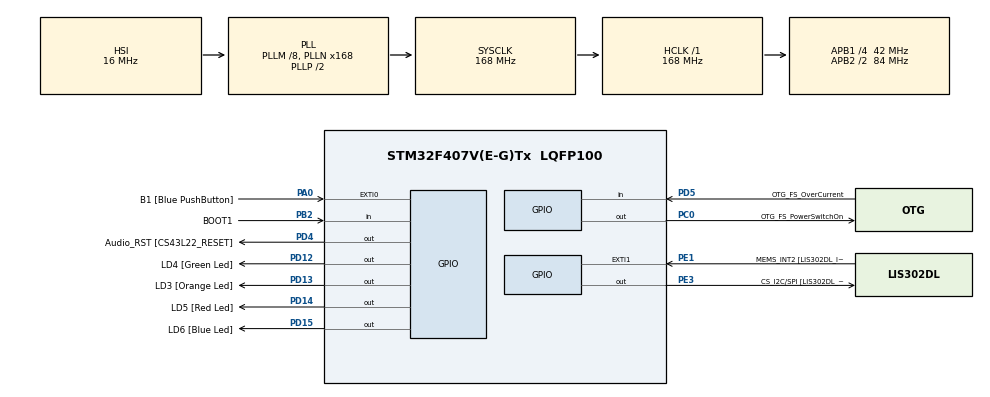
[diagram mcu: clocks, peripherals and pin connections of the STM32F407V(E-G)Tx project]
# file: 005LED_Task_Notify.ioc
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Mcu.Family=STM32F4
Mcu.Name=STM32F407V(E-G)Tx
Mcu.Package=LQFP100
NVIC.PriorityGroup=NVIC_PRIORITYGROUP_4
NVIC.TIM6_DAC_IRQn=true\:0\:0\:false\:false\:true\:false\:true\:true
NVIC.TimeBase=TIM6_DAC_IRQn
NVIC.TimeBaseIP=TIM6
PA0-WKUP.GPIO_Label=B1 [Blue PushButton]
PA0-WKUP.Signal=GPXTI0
PA10.GPIO_Label=OTG_FS_ID
PA10.GPIO_Mode=GPIO_MODE_AF_PP
PA10.GPIO_PuPd=GPIO_NOPULL
PA10.GPIO_Speed=GPIO_SPEED_FREQ_LOW
PA10.Signal=USB_OTG_FS_ID
PA11.GPIO_Label=OTG_FS_DM
PA11.GPIO_Mode=GPIO_MODE_AF_PP
PA11.GPIO_PuPd=GPIO_NOPULL
PA11.GPIO_Speed=GPIO_SPEED_FREQ_LOW
PA11.Signal=USB_OTG_FS_DM
PA12.GPIO_Label=OTG_FS_DP
PA12.GPIO_Mode=GPIO_MODE_AF_PP
PA12.GPIO_PuPd=GPIO_NOPULL
PA12.GPIO_Speed=GPIO_SPEED_FREQ_LOW
PA12.Signal=USB_OTG_FS_DP
PA13.GPIO_Label=SWDIO
PA13.Signal=SYS_JTMS-SWDIO
PA14.GPIO_Label=SWCLK
PA14.Signal=SYS_JTCK-SWCLK
PA4.GPIO_Label=I2S3_WS [CS43L22_LRCK]
PA4.GPIO_Mode=GPIO_MODE_AF_PP
PA4.GPIO_PuPd=GPIO_NOPULL
PA4.GPIO_Speed=GPIO_SPEED_FREQ_LOW
PA4.Signal=I2S3_WS
PA5.GPIO_Label=SPI1_SCK [LIS302DL_SCL/SPC]
PA5.GPIO_Mode=GPIO_MODE_AF_PP
PA5.GPIO_PuPd=GPIO_NOPULL
PA5.GPIO_Speed=GPIO_SPEED_FREQ_LOW
PA5.Signal=SPI1_SCK
PA6.GPIO_Label=SPI1_MISO [LIS302DL_SDO]
PA6.GPIO_Mode=GPIO_MODE_AF_PP
PA6.GPIO_PuPd=GPIO_NOPULL
PA6.GPIO_Speed=GPIO_SPEED_FREQ_LOW
PA6.Signal=SPI1_MISO
PA7.GPIO_Label=SPI1_MOSI [LIS302DL_SDA/SDI/SDO]
PA7.GPIO_Mode=GPIO_MODE_AF_PP
PA7.GPIO_PuPd=GPIO_NOPULL
PA7.GPIO_Speed=GPIO_SPEED_FREQ_LOW
PA7.Signal=SPI1_MOSI
PA9.GPIO_Label=VBUS_FS
PA9.GPIO_Mode=GPIO_MODE_INPUT
PA9.GPIO_PuPd=GPIO_NOPULL
PA9.Signal=USB_OTG_FS_VBUS
PB10.GPIO_Label=CLK_IN [MP45DT02_CLK]
PB10.GPIO_Mode=GPIO_MODE_AF_PP
PB10.GPIO_PuPd=GPIO_NOPULL
PB10.GPIO_Speed=GPIO_SPEED_FREQ_LOW
PB10.Signal=I2S2_CK
PB2.GPIO_Label=BOOT1
PB2.GPIO_Mode=GPIO_MODE_INPUT
PB2.GPIO_PuPd=GPIO_NOPULL
PB2.Signal=GPIO_Input
PB3.GPIO_Label=SWO
PB3.Signal=SYS_JTDO-SWO
PB6.GPIO_Label=Audio_SCL [CS43L22_SCL]
PB6.GPIO_Mode=GPIO_MODE_AF_OD
PB6.GPIO_PuPd=GPIO_NOPULL
PB6.GPIO_Speed=GPIO_SPEED_FREQ_LOW
PB6.Signal=I2C1_SCL
PB9.GPIO_Label=Audio_SDA [CS43L22_SDA]
PB9.GPIO_Mode=GPIO_MODE_AF_OD
PB9.GPIO_PuPd=GPIO_NOPULL
PB9.GPIO_Speed=GPIO_SPEED_FREQ_LOW
PB9.Signal=I2C1_SDA
PC0.GPIO_Label=OTG_FS_PowerSwitchOn
PC0.GPIO_PuPd=GPIO_NOPULL
PC0.GPIO_Speed=GPIO_SPEED_FREQ_LOW
PC0.PinState=GPIO_PIN_SET
PC0.Signal=GPIO_Output
PC10.GPIO_Label=I2S3_SCK [CS43L22_SCLK]
PC10.GPIO_Mode=GPIO_MODE_AF_PP
PC10.GPIO_PuPd=GPIO_NOPULL
PC10.GPIO_Speed=GPIO_SPEED_FREQ_LOW
PC10.Signal=I2S3_CK
PC12.GPIO_Label=I2S3_SD [CS43L22_SDIN]
PC12.GPIO_Mode=GPIO_MODE_AF_PP
PC12.GPIO_PuPd=GPIO_NOPULL
PC12.GPIO_Speed=GPIO_SPEED_FREQ_LOW
PC12.Signal=I2S3_SD
PC14-OSC32_IN.GPIO_Label=PC14-OSC32_IN
PC14-OSC32_IN.Signal=RCC_OSC32_IN
PC15-OSC32_OUT.GPIO_Label=PC15-OSC32_OUT
PC15-OSC32_OUT.Signal=RCC_OSC32_OUT
PC3.GPIO_Label=PDM_OUT [MP45DT02_DOUT]
PC3.GPIO_Mode=GPIO_MODE_AF_PP
PC3.GPIO_PuPd=GPIO_NOPULL
PC3.GPIO_Speed=GPIO_SPEED_FREQ_LOW
PC3.Signal=I2S2_SD
PC7.GPIO_Label=I2S3_MCK [CS43L22_MCLK]
PC7.GPIO_Mode=GPIO_MODE_AF_PP
PC7.GPIO_PuPd=GPIO_NOPULL
PC7.GPIO_Speed=GPIO_SPEED_FREQ_LOW
PC7.Signal=I2S3_MCK
PD12.GPIO_Label=LD4 [Green Led]
PD12.GPIO_PuPd=GPIO_NOPULL
PD12.GPIO_Speed=GPIO_SPEED_FREQ_LOW
PD12.Signal=GPIO_Output
PD13.GPIO_Label=LD3 [Orange Led]
PD13.GPIO_PuPd=GPIO_NOPULL
PD13.GPIO_Speed=GPIO_SPEED_FREQ_LOW
PD13.Signal=GPIO_Output
PD14.GPIO_Label=LD5 [Red Led]
PD14.GPIO_PuPd=GPIO_NOPULL
PD14.GPIO_Speed=GPIO_SPEED_FREQ_LOW
PD14.Signal=GPIO_Output
PD15.GPIO_Label=LD6 [Blue Led]
PD15.GPIO_PuPd=GPIO_NOPULL
PD15.GPIO_Speed=GPIO_SPEED_FREQ_LOW
PD15.Signal=GPIO_Output
PD4.GPIO_Label=Audio_RST [CS43L22_RESET]
PD4.GPIO_PuPd=GPIO_NOPULL
PD4.GPIO_Speed=GPIO_SPEED_FREQ_LOW
PD4.Signal=GPIO_Output
PD5.GPIO_Label=OTG_FS_OverCurrent
PD5.GPIO_Mode=GPIO_MODE_INPUT
PD5.GPIO_PuPd=GPIO_NOPULL
PD5.Signal=GPIO_Input
PE1.GPIO_Label=MEMS_INT2 [LIS302DL_INT2]
PE1.GPIO_ModeDefaultEXTI=GPIO_MODE_EVT_RISING
PE1.GPIO_PuPd=GPIO_NOPULL
PE1.Signal=GPXTI1
PE3.GPIO_Label=CS_I2C/SPI [LIS302DL_CS_I2C/SPI]
PE3.GPIO_PuPd=GPIO_NOPULL
PE3.GPIO_Speed=GPIO_SPEED_FREQ_LOW
PE3.Signal=GPIO_Output
PH0-OSC_IN.GPIO_Label=PH0-OSC_IN
PH0-OSC_IN.Signal=RCC_OSC_IN
PH1-OSC_OUT.GPIO_Label=PH1-OSC_OUT
PH1-OSC_OUT.Signal=RCC_OSC_OUT
ProjectManager.HeapSize=0x200
ProjectManager.StackSize=0x400
ProjectManager.TargetToolchain=STM32CubeIDE
RCC.48MHZClocksFreq_Value=48000000
RCC.AHBFreq_Value=168000000
RCC.APB1CLKDivider=RCC_HCLK_DIV4
RCC.APB1Freq_Value=42000000
RCC.APB1TimFreq_Value=84000000
RCC.APB2CLKDivider=RCC_HCLK_DIV2
RCC.APB2Freq_Value=84000000
RCC.APB2TimFreq_Value=168000000
RCC.CortexFreq_Value=168000000
RCC.HCLKFreq_Value=168000000
RCC.HSE_VALUE=8000000
RCC.HSI_VALUE=16000000
RCC.LSE_VALUE=32768
RCC.PLLM=8
RCC.PLLN=168
RCC.PLLQ=7
RCC.SYSCLKFreq_VALUE=168000000
RCC.SYSCLKSource=RCC_SYSCLKSOURCE_PLLCLK
RCC.VCOOutputFreq_Value=336000000
VP_SYS_VS_tim6.Mode=TIM6
board=STM32F407G-DISC1

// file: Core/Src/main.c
/* USER CODE BEGIN Header */
/**
  ******************************************************************************
  * @file           : main.c
  * @brief          : Main program body
  ******************************************************************************
  * @attention
  *
  * Copyright (c) 2023 STMicroelectronics.
  * All rights reserved.
  *
  * This software is licensed under terms that can be found in the LICENSE file
  * in the root directory of this software component.
  * If no LICENSE file comes with this software, it is provided AS-IS.
  *
  ******************************************************************************
  */
/* USER CODE END Header */
#include "main.h"

/* USER CODE BEGIN Includes */
#include "FreeRTOS.h"
#include "task.h"
/* USER CODE END Includes */

/* USER CODE BEGIN PV */

#define DWT_CTRL	(*(volatile uint32_t*)0xE0001000)

/* USER CODE END PV */

void SystemClock_Config(void);
static void MX_GPIO_Init(void);
/* USER CODE BEGIN PFP */
static void led_green_handler(void* parameters);
static void led_red_handler(void* parameters);
static void led_orange_handler(void* parameters);
static void button_handler(void* parameters);
static void suspend_handler(void* parameters);
TaskHandle_t ledg_task_handle;
TaskHandle_t ledo_task_handle;
TaskHandle_t ledr_task_handle;
TaskHandle_t btn_task_handle;
TaskHandle_t resumeSuspend_task_handle;

TaskHandle_t volatile next_task_handle = NULL;

/* USER CODE END PFP */

int main(void)
{
  /* USER CODE BEGIN 1 */

  BaseType_t status;
  /* USER CODE END 1 */

  /* MCU Configuration--------------------------------------------------------*/

  /* Reset of all peripherals, Initializes the Flash interface and the Systick. */
  HAL_Init();

  /* Configure the system clock */
  SystemClock_Config();

  /* Initialize all configured peripherals */
  MX_GPIO_Init();
  /* USER CODE BEGIN 2 */

  DWT_CTRL |= ( 1<< 0);

  SEGGER_UART_init(500000);

  SEGGER_SYSVIEW_Conf();

  status = xTaskCreate(led_green_handler, "LED_green_task", 200, NULL, 3, &ledg_task_handle);

  configASSERT(status == pdPASS);

  next_task_handle = ledg_task_handle;

  status = xTaskCreate(led_red_handler, "LED_red_task", 200, NULL, 1, &ledr_task_handle);

  configASSERT(status == pdPASS);

  status = xTaskCreate(led_orange_handler, "LED_orange_task", 200, NULL, 2, &ledo_task_handle);

  configASSERT(status == pdPASS);

  status = xTaskCreate(button_handler, "Button_task", 200, NULL, 4, &btn_task_handle);

  configASSERT(status == pdPASS);

  status = xTaskCreate(suspend_handler, "Resume_suspend_task", 200, NULL, 4, &resumeSuspend_task_handle);

  configASSERT(status == pdPASS);

  vTaskStartScheduler();
  /* USER CODE END 2 */

  /* Infinite loop */
  while (1)
  {

  }
}

void SystemClock_Config(void)
{
  RCC_OscInitTypeDef RCC_OscInitStruct = {0};
  RCC_ClkInitTypeDef RCC_ClkInitStruct = {0};

  /** Configure the main internal regulator output voltage
  */
  __HAL_RCC_PWR_CLK_ENABLE();
  __HAL_PWR_VOLTAGESCALING_CONFIG(PWR_REGULATOR_VOLTAGE_SCALE1);

  /** Initializes the RCC Oscillators according to the specified parameters
  * in the RCC_OscInitTypeDef structure.
  */
  RCC_OscInitStruct.OscillatorType = RCC_OSCILLATORTYPE_HSI;
  RCC_OscInitStruct.HSIState = RCC_HSI_ON;
  RCC_OscInitStruct.HSICalibrationValue = RCC_HSICALIBRATION_DEFAULT;
  RCC_OscInitStruct.PLL.PLLState = RCC_PLL_ON;
  RCC_OscInitStruct.PLL.PLLSource = RCC_PLLSOURCE_HSI;
  RCC_OscInitStruct.PLL.PLLM = 8;
  RCC_OscInitStruct.PLL.PLLN = 168;
  RCC_OscInitStruct.PLL.PLLP = RCC_PLLP_DIV2;
  RCC_OscInitStruct.PLL.PLLQ = 7;
  if (HAL_RCC_OscConfig(&RCC_OscInitStruct) != HAL_OK)
  {
    Error_Handler();
  }

  /** Initializes the CPU, AHB and APB buses clocks
  */
  RCC_ClkInitStruct.ClockType = RCC_CLOCKTYPE_HCLK|RCC_CLOCKTYPE_SYSCLK
                              |RCC_CLOCKTYPE_PCLK1|RCC_CLOCKTYPE_PCLK2;
  RCC_ClkInitStruct.SYSCLKSource = RCC_SYSCLKSOURCE_PLLCLK;
  RCC_ClkInitStruct.AHBCLKDivider = RCC_SYSCLK_DIV1;
  RCC_ClkInitStruct.APB1CLKDivider = RCC_HCLK_DIV4;
  RCC_ClkInitStruct.APB2CLKDivider = RCC_HCLK_DIV2;

  if (HAL_RCC_ClockConfig(&RCC_ClkInitStruct, FLASH_LATENCY_5) != HAL_OK)
  {
    Error_Handler();
  }
}

static void MX_GPIO_Init(void)
{
  GPIO_InitTypeDef GPIO_InitStruct = {0};

  /* GPIO Ports Clock Enable */
  __HAL_RCC_GPIOE_CLK_ENABLE();
  __HAL_RCC_GPIOC_CLK_ENABLE();
  __HAL_RCC_GPIOH_CLK_ENABLE();
  __HAL_RCC_GPIOA_CLK_ENABLE();
  __HAL_RCC_GPIOB_CLK_ENABLE();
  __HAL_RCC_GPIOD_CLK_ENABLE();

  /*Configure GPIO pin Output Level */
  HAL_GPIO_WritePin(CS_I2C_SPI_GPIO_Port, CS_I2C_SPI_Pin, GPIO_PIN_RESET);

  /*Configure GPIO pin Output Level */
  HAL_GPIO_WritePin(OTG_FS_PowerSwitchOn_GPIO_Port, OTG_FS_PowerSwitchOn_Pin, GPIO_PIN_SET);

  /*Configure GPIO pin Output Level */
  HAL_GPIO_WritePin(GPIOD, LD4_Pin|LD3_Pin|LD5_Pin|LD6_Pin
                          |Audio_RST_Pin, GPIO_PIN_RESET);

  /*Configure GPIO pin : CS_I2C_SPI_Pin */
  GPIO_InitStruct.Pin = CS_I2C_SPI_Pin;
  GPIO_InitStruct.Mode = GPIO_MODE_OUTPUT_PP;
  GPIO_InitStruct.Pull = GPIO_NOPULL;
  GPIO_InitStruct.Speed = GPIO_SPEED_FREQ_LOW;
  HAL_GPIO_Init(CS_I2C_SPI_GPIO_Port, &GPIO_InitStruct);

  /*Configure GPIO pin : OTG_FS_PowerSwitchOn_Pin */
  GPIO_InitStruct.Pin = OTG_FS_PowerSwitchOn_Pin;
  GPIO_InitStruct.Mode = GPIO_MODE_OUTPUT_PP;
  GPIO_InitStruct.Pull = GPIO_NOPULL;
  GPIO_InitStruct.Speed = GPIO_SPEED_FREQ_LOW;
  HAL_GPIO_Init(OTG_FS_PowerSwitchOn_GPIO_Port, &GPIO_InitStruct);

  /*Configure GPIO pin : PDM_OUT_Pin */
  GPIO_InitStruct.Pin = PDM_OUT_Pin;
  GPIO_InitStruct.Mode = GPIO_MODE_AF_PP;
  GPIO_InitStruct.Pull = GPIO_NOPULL;
  GPIO_InitStruct.Speed = GPIO_SPEED_FREQ_LOW;
  GPIO_InitStruct.Alternate = GPIO_AF5_SPI2;
  HAL_GPIO_Init(PDM_OUT_GPIO_Port, &GPIO_InitStruct);

  /*Configure GPIO pin : B1_Pin */
  GPIO_InitStruct.Pin = B1_Pin;
  GPIO_InitStruct.Mode = GPIO_MODE_IT_RISING;
  GPIO_InitStruct.Pull = GPIO_NOPULL;
  HAL_GPIO_Init(B1_GPIO_Port, &GPIO_InitStruct);

  /*Configure GPIO pin : I2S3_WS_Pin */
  GPIO_InitStruct.Pin = I2S3_WS_Pin;
  GPIO_InitStruct.Mode = GPIO_MODE_AF_PP;
  GPIO_InitStruct.Pull = GPIO_NOPULL;
  GPIO_InitStruct.Speed = GPIO_SPEED_FREQ_LOW;
  GPIO_InitStruct.Alternate = GPIO_AF6_SPI3;
  HAL_GPIO_Init(I2S3_WS_GPIO_Port, &GPIO_InitStruct);

  /*Configure GPIO pins : SPI1_SCK_Pin SPI1_MISO_Pin SPI1_MOSI_Pin */
  GPIO_InitStruct.Pin = SPI1_SCK_Pin|SPI1_MISO_Pin|SPI1_MOSI_Pin;
  GPIO_InitStruct.Mode = GPIO_MODE_AF_PP;
  GPIO_InitStruct.Pull = GPIO_NOPULL;
  GPIO_InitStruct.Speed = GPIO_SPEED_FREQ_LOW;
  GPIO_InitStruct.Alternate = GPIO_AF5_SPI1;
  HAL_GPIO_Init(GPIOA, &GPIO_InitStruct);

  /*Configure GPIO pin : BOOT1_Pin */
  GPIO_InitStruct.Pin = BOOT1_Pin;
  GPIO_InitStruct.Mode = GPIO_MODE_INPUT;
  GPIO_InitStruct.Pull = GPIO_NOPULL;
  HAL_GPIO_Init(BOOT1_GPIO_Port, &GPIO_InitStruct);

  /*Configure GPIO pin : CLK_IN_Pin */
  GPIO_InitStruct.Pin = CLK_IN_Pin;
  GPIO_InitStruct.Mode = GPIO_MODE_AF_PP;
  GPIO_InitStruct.Pull = GPIO_NOPULL;
  GPIO_InitStruct.Speed = GPIO_SPEED_FREQ_LOW;
  GPIO_InitStruct.Alternate = GPIO_AF5_SPI2;
  HAL_GPIO_Init(CLK_IN_GPIO_Port, &GPIO_InitStruct);

  /*Configure GPIO pins : LD4_Pin LD3_Pin LD5_Pin LD6_Pin
                           Audio_RST_Pin */
  GPIO_InitStruct.Pin = LD4_Pin|LD3_Pin|LD5_Pin|LD6_Pin
                          |Audio_RST_Pin;
  GPIO_InitStruct.Mode = GPIO_MODE_OUTPUT_PP;
  GPIO_InitStruct.Pull = GPIO_NOPULL;
  GPIO_InitStruct.Speed = GPIO_SPEED_FREQ_LOW;
  HAL_GPIO_Init(GPIOD, &GPIO_InitStruct);

  /*Configure GPIO pins : I2S3_MCK_Pin I2S3_SCK_Pin I2S3_SD_Pin */
  GPIO_InitStruct.Pin = I2S3_MCK_Pin|I2S3_SCK_Pin|I2S3_SD_Pin;
  GPIO_InitStruct.Mode = GPIO_MODE_AF_PP;
  GPIO_InitStruct.Pull = GPIO_NOPULL;
  GPIO_InitStruct.Speed = GPIO_SPEED_FREQ_LOW;
  GPIO_InitStruct.Alternate = GPIO_AF6_SPI3;
  HAL_GPIO_Init(GPIOC, &GPIO_InitStruct);

  /*Configure GPIO pin : VBUS_FS_Pin */
  GPIO_InitStruct.Pin = VBUS_FS_Pin;
  GPIO_InitStruct.Mode = GPIO_MODE_INPUT;
  GPIO_InitStruct.Pull = GPIO_NOPULL;
  HAL_GPIO_Init(VBUS_FS_GPIO_Port, &GPIO_InitStruct);

  /*Configure GPIO pins : OTG_FS_ID_Pin OTG_FS_DM_Pin OTG_FS_DP_Pin */
  GPIO_InitStruct.Pin = OTG_FS_ID_Pin|OTG_FS_DM_Pin|OTG_FS_DP_Pin;
  GPIO_InitStruct.Mode = GPIO_MODE_AF_PP;
  GPIO_InitStruct.Pull = GPIO_NOPULL;
  GPIO_InitStruct.Speed = GPIO_SPEED_FREQ_LOW;
  GPIO_InitStruct.Alternate = GPIO_AF10_OTG_FS;
  HAL_GPIO_Init(GPIOA, &GPIO_InitStruct);

  /*Configure GPIO pin : OTG_FS_OverCurrent_Pin */
  GPIO_InitStruct.Pin = OTG_FS_OverCurrent_Pin;
  GPIO_InitStruct.Mode = GPIO_MODE_INPUT;
  GPIO_InitStruct.Pull = GPIO_NOPULL;
  HAL_GPIO_Init(OTG_FS_OverCurrent_GPIO_Port, &GPIO_InitStruct);

  /*Configure GPIO pins : Audio_SCL_Pin Audio_SDA_Pin */
  GPIO_InitStruct.Pin = Audio_SCL_Pin|Audio_SDA_Pin;
  GPIO_InitStruct.Mode = GPIO_MODE_AF_OD;
  GPIO_InitStruct.Pull = GPIO_NOPULL;
  GPIO_InitStruct.Speed = GPIO_SPEED_FREQ_LOW;
  GPIO_InitStruct.Alternate = GPIO_AF4_I2C1;
  HAL_GPIO_Init(GPIOB, &GPIO_InitStruct);

  /*Configure GPIO pin : MEMS_INT2_Pin */
  GPIO_InitStruct.Pin = MEMS_INT2_Pin;
  GPIO_InitStruct.Mode = GPIO_MODE_EVT_RISING;
  GPIO_InitStruct.Pull = GPIO_NOPULL;
  HAL_GPIO_Init(MEMS_INT2_GPIO_Port, &GPIO_InitStruct);

}

/* USER CODE BEGIN 4 */
static void led_green_handler(void* parameters)
{
	BaseType_t status;
	while(1)
	{
		SEGGER_SYSVIEW_PrintfTarget("Toggling green LED");
		HAL_GPIO_TogglePin(GPIOD, LED_GREEN_PIN);
		status = xTaskNotifyWait(0, 0, NULL, pdMS_TO_TICKS(1000));
		if(status == pdTRUE)
		{
			vTaskSuspendAll();
			next_task_handle = ledo_task_handle;
			xTaskResumeAll();
			HAL_GPIO_WritePin(GPIOD, LED_GREEN_PIN, GPIO_PIN_SET);
			vTaskSuspend(NULL);
		}
	}
}

static void led_red_handler(void* parameters)
{
	BaseType_t status;
	while(1)
	{
		SEGGER_SYSVIEW_PrintfTarget("Toggling red LED");
		HAL_GPIO_TogglePin(GPIOD, LED_RED_PIN);
		status = xTaskNotifyWait(0, 0, NULL, pdMS_TO_TICKS(400));
		if(status == pdTRUE)
		{
			vTaskSuspendAll();
			next_task_handle = resumeSuspend_task_handle;
			xTaskResumeAll();
			HAL_GPIO_WritePin(GPIOD, LED_RED_PIN, GPIO_PIN_SET);
			vTaskSuspend(NULL);
		}
	}
}

static void led_orange_handler(void* parameters)
{
	BaseType_t status;
	while(1)
	{
		SEGGER_SYSVIEW_PrintfTarget("Toggling orange LED");
		HAL_GPIO_TogglePin(GPIOD, LED_ORANGE_PIN);
		status = xTaskNotifyWait(0, 0, NULL, pdMS_TO_TICKS(800));
		if(status == pdTRUE)
		{
			vTaskSuspendAll();
			next_task_handle = ledr_task_handle;
			xTaskResumeAll();
			HAL_GPIO_WritePin(GPIOD, LED_ORANGE_PIN, GPIO_PIN_SET);
			vTaskSuspend(NULL);
		}
	}
}

static void button_handler(void* parameters)
{
	uint8_t btn_read = 0;
	uint8_t prev_read = 0;

	while(1)
	{
		btn_read = HAL_GPIO_ReadPin(GPIOA, GPIO_PIN_0);

		if (btn_read)
		{
			if(!prev_read)
				xTaskNotify(next_task_handle, 0, eNoAction);
		}
		prev_read = btn_read;
		vTaskDelay(pdMS_TO_TICKS(10));
	}
}

static void suspend_handler(void* parameters)
{
	BaseType_t status;
	while(1)
	{
		status = xTaskNotifyWait(0, 0, NULL, pdMS_TO_TICKS(10));
		if(status == pdTRUE)
		{
			vTaskResume(ledg_task_handle);
			vTaskResume(ledo_task_handle);
			vTaskResume(ledr_task_handle);
			vTaskSuspendAll();
			next_task_handle = ledg_task_handle;
			xTaskResumeAll();
		}
	}
}

/* USER CODE END 4 */

void HAL_TIM_PeriodElapsedCallback(TIM_HandleTypeDef *htim)
{
  if (htim->Instance == TIM6) {
    HAL_IncTick();
  }
}

void Error_Handler(void)
{
  __disable_irq();
  while (1)
  {
  }
}
